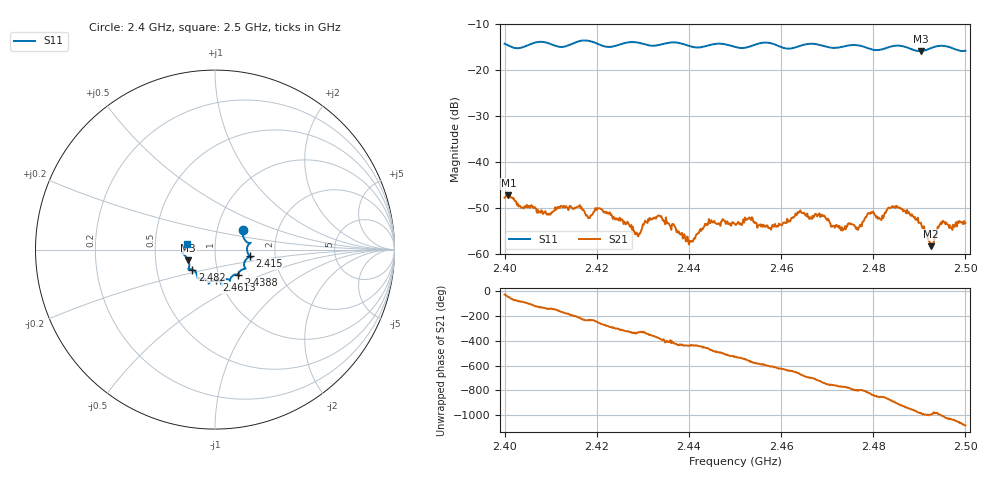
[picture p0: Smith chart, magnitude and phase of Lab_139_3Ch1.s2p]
# Hz S RI R 50
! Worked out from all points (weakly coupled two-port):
!   601 points, 2.4 GHz to 2.5 GHz, reference 50 ohm
!   highest |S21| = -47.21 dB at 2.4008 GHz (marker M1); lowest = -58.3 dB at 2.4925 GHz (marker M2)
!   lowest |S11| = -15.9 dB at 2.4903 GHz (marker M3), VSWR 1.38, Z = 36.8 - j4.45 ohm
!   |S11| at or under -10 dB: start of sweep to end of sweep
!   S12 and S22 are empty: the file has one direction only
!   S11 on the Smith chart (normalised r, x): 2.4 GHz: 1.33, +0.31; 2.415 GHz: 1.47, -0.11; 2.4388 GHz: 1.24, -0.36; 2.4613 GHz: 0.96, -0.34; 2.482 GHz: 0.76, -0.17; 2.5 GHz: 0.72, +0.05
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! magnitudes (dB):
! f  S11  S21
! 2.4 GHz  -14.3  -47.7
! 2.4008 GHz  -14.7  -47.2
! 2.4095 GHz  -14.2  -51.4
! 2.415 GHz  -14.1  -50.2
! 2.4167 GHz  -13.6  -49.8
! 2.4182 GHz  -13.6  -52.2
! 2.4208 GHz  -14.6  -50.1
! 2.4288 GHz  -14.0  -55.9
! 2.4333 GHz  -14.6  -51.6
! 2.4388 GHz  -14.4  -55.9
! 2.4448 GHz  -14.5  -52.6
! 2.45 GHz  -15.0  -53.5
! 2.4613 GHz  -15.3  -52.3
! 2.4667 GHz  -14.3  -52.4
! 2.4735 GHz  -14.9  -54.5
! 2.4795 GHz  -15.5  -50.9
! 2.482 GHz  -15.5  -51.6
! 2.4833 GHz  -15.0  -49.9
! 2.4903 GHz  -15.9  -53.2
! 2.4925 GHz  -15.2  -58.3
! 2.495 GHz  -14.7  -52.8
! 2.5 GHz  -15.8  -53.2
